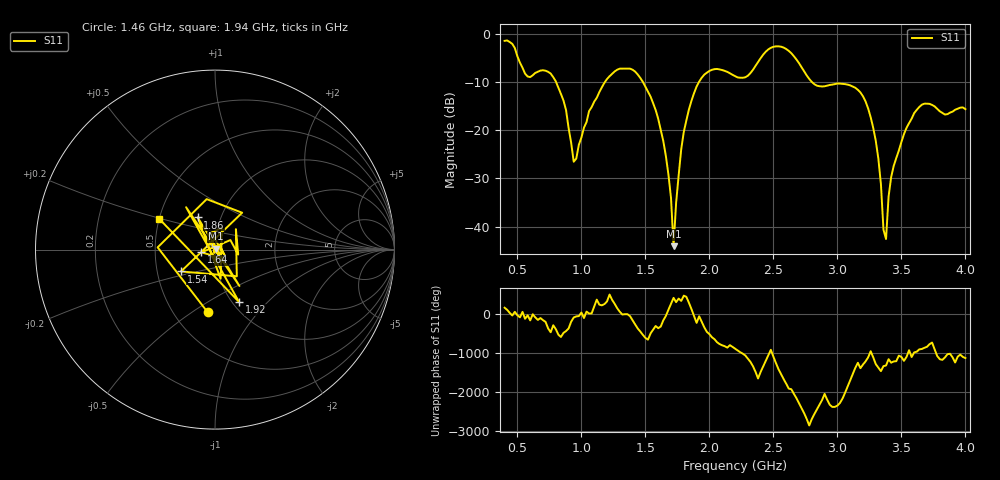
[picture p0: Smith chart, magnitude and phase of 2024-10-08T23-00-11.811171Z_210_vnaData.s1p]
! Created with skrf (http://scikit-rf.org).
# Hz S RI R 50.0
!freq ReS11 ImS11
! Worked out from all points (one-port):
!   181 points, 400 MHz to 4 GHz, reference 50 ohm
!   lowest |S11| = -44.1 dB at 1.72 GHz (marker M1), VSWR 1.01, Z = 50.4 + j0.457 ohm
!   |S11| at or under -10 dB: 803 MHz to 1.182 GHz (379.1 MHz wide, 38.2 % of centre); 1.482 GHz to 1.917 GHz (435.2 MHz wide, 25.6 % of centre); 2.803 GHz to end of sweep
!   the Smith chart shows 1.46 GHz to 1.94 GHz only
!   S11 on the Smith chart (normalised r, x): 1.46 GHz: 0.73, -0.58; 1.54 GHz: 0.66, -0.17; 1.64 GHz: 0.86, -0.03; 1.86 GHz: 0.78, +0.29; 1.92 GHz: 1.07, -0.70; 1.94 GHz: 0.50, +0.20
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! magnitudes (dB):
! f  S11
! 400 MHz  -1.4
! 580 MHz  -8.8
! 760 MHz  -8.2
! 860 MHz  -13.8
! 940 MHz  -26.5
! 1.06 GHz  -16.0
! 1.3 GHz  -7.2
! 1.46 GHz  -9.1
! 1.54 GHz  -13.0
! 1.64 GHz  -22.2
! 1.7 GHz  -34.0
! 1.72 GHz  -44.1
! 1.76 GHz  -29.3
! 1.86 GHz  -13.8
! 1.92 GHz  -9.9
! 1.94 GHz  -9.0
! 2.2 GHz  -8.7
! 2.5 GHz  -2.6
! 2.66 GHz  -4.6
! 2.84 GHz  -10.7
! 3.1 GHz  -10.6
! 3.28 GHz  -19.5
! 3.32 GHz  -25.9
! 3.38 GHz  -42.6
! 3.42 GHz  -29.7
! 3.56 GHz  -18.5
! 3.68 GHz  -14.4
! 4 GHz  -15.6
